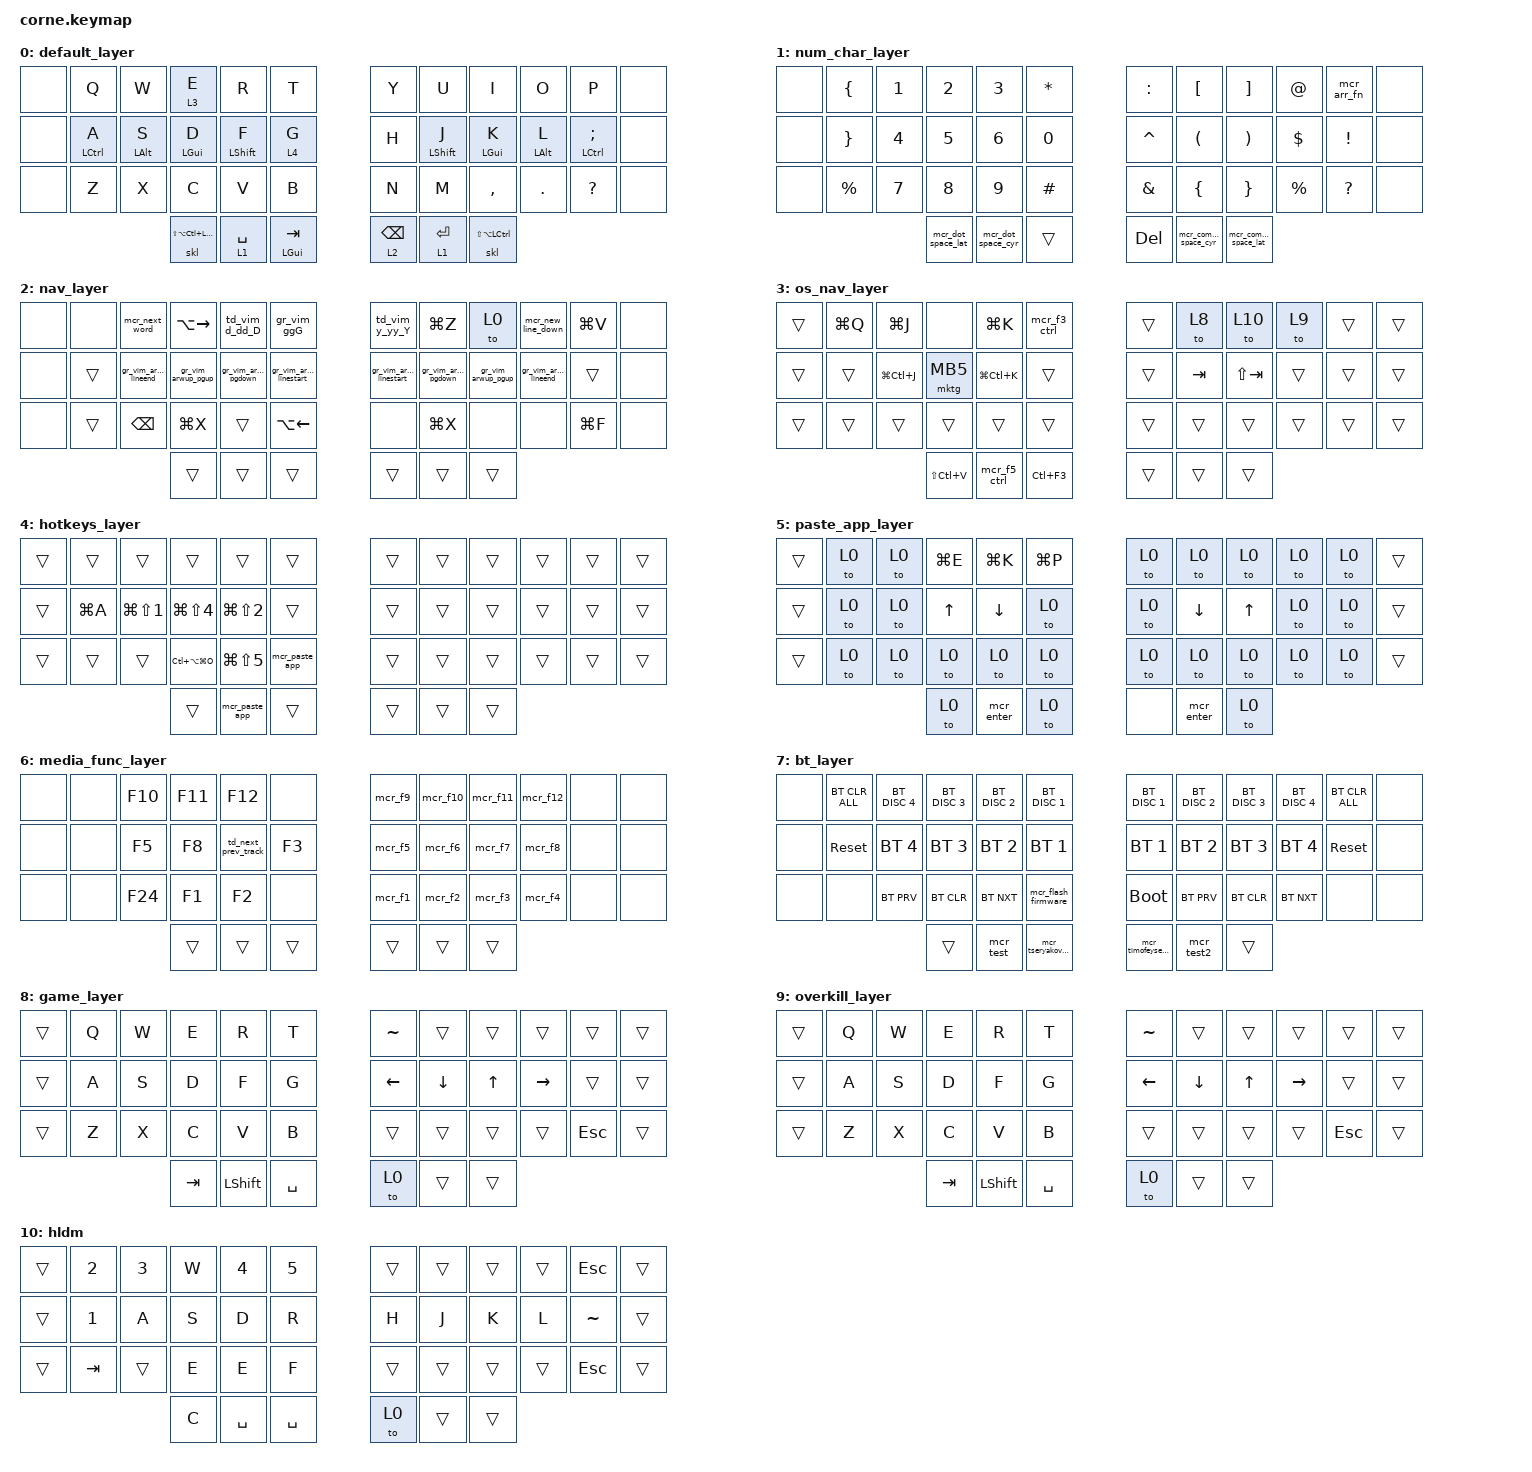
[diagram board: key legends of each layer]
/*
 * Copyright (c) 2020 The ZMK Contributors
 *
 * SPDX-License-Identifier: MIT
 */

#include <dt-bindings/zmk/mouse.h>
#include <behaviors/mouse_key_toggle.dtsi>
#include <behaviors.dtsi>
#include <dt-bindings/zmk/bt.h>
#include <dt-bindings/zmk/keys.h>
#include <dt-bindings/zmk/pointing.h>

&mt {
    flavor = "balanced";
    quick-tap-ms = <250>;
    tapping-term-ms = <250>;
};

&lt { quick-tap-ms = <200>; };

&soft_off { hold-time-ms = <200>; };

/ {
    macros {
        mcr_arr_fn: macro_arrow_fn {
            compatible = "zmk,behavior-macro";
            #binding-cells = <0>;
            bindings = <&kp EQUAL &kp GT &kp SPACE &kp LEFT_BRACE &kp RET>;
            label = "MACRO_ARROW_FN";
        };

        mcr_test: mcr_test {
            compatible = "zmk,behavior-macro";
            #binding-cells = <0>;
            bindings = <&kp EXCL &kp N1 &kp LS(Q) &kp A &kp Z &kp N2 &kp LS(W) &kp S &kp X &kp ENTER>;
            label = "MCR_TEST";
        };

        mcr_comma_space_cyr: mcr_comma_space {
            compatible = "zmk,behavior-macro";
            #binding-cells = <0>;
            bindings = <&kp CARET &kp SPACE>;
            label = "MCR_COMMA_SPACE";
        };

        mcr_dot_space_cyr: mcr_dot_space {
            compatible = "zmk,behavior-macro";
            #binding-cells = <0>;
            bindings = <&kp AMPERSAND &kp SPACE &skl LEFT_SHIFT>;
            label = "MCR_DOT_SPACE";
        };

        mcr_new_line_down: mcr_new_line {
            compatible = "zmk,behavior-macro";
            #binding-cells = <0>;
            bindings = <&kp LG(RIGHT_ARROW) &kp LS(ENTER)>;
            label = "MCR_NEW_LINE";
        };

        mcr_next_word: mcr_next_word {
            compatible = "zmk,behavior-macro";
            #binding-cells = <0>;
            bindings = <&kp LA(RIGHT_ARROW) &kp RIGHT_ARROW>;
            label = "MCR_NEXT_WORD";
        };

        mcr_vim_D: mcr_vim_D {
            compatible = "zmk,behavior-macro";
            #binding-cells = <0>;
            bindings =
                <&macro_press>,
                <&kp LSHFT>,
                <&macro_tap>,
                <&kp LG(RIGHT_ARROW)>,
                <&macro_release>,
                <&kp LSHFT>,
                <&macro_tap>,
                <&kp BACKSPACE>;

            label = "MCR_VIM_D";
        };

        mcr_vim_Y: mcr_vim_Y {
            compatible = "zmk,behavior-macro";
            #binding-cells = <0>;
            bindings =
                <&macro_press>,
                <&kp LSHFT>,
                <&macro_tap>,
                <&kp LG(RIGHT_ARROW)>,
                <&macro_release>,
                <&kp LSHFT>,
                <&macro_tap>,
                <&kp LG(C) &kp RIGHT_ARROW>;

            label = "MCR_VIM_Y";
        };

        mcr_vim_dd: mcr_vim_dd {
            compatible = "zmk,behavior-macro";
            #binding-cells = <0>;
            bindings =
                <&macro_tap>,
                <&kp LG(LEFT_ARROW)>,
                <&macro_press>,
                <&kp LSHFT>,
                <&macro_tap>,
                <&kp LG(RIGHT_ARROW)>,
                <&macro_release>,
                <&kp LSHFT>,
                <&macro_tap>,
                <&kp BACKSPACE>;

            label = "MCR_VIM_DD";
        };

        mcr_vim_yy: mcr_vim_yy {
            compatible = "zmk,behavior-macro";
            #binding-cells = <0>;
            bindings =
                <&macro_tap>,
                <&kp LG(LEFT_ARROW)>,
                <&macro_press>,
                <&kp LSHFT>,
                <&macro_tap>,
                <&kp LG(RIGHT_ARROW)>,
                <&macro_release>,
                <&kp LSHFT>,
                <&macro_tap>,
                <&kp LG(C) &kp LEFT_ARROW>;

            label = "MCR_VIM_YY";
        };

        mcr_esc: mcr_esc {
            compatible = "zmk,behavior-macro";
            #binding-cells = <0>;
            bindings = <&kp ESC &to 0>;
            label = "MCR_ESC";
        };

        mcr_paste_app: mcr_paste_app {
            compatible = "zmk,behavior-macro";
            #binding-cells = <0>;
            bindings = <&kp LS(LG(V)) &to 5>;
            label = "MCR_PASTE_APP";
        };

        mcr_enter: macro_enter {
            compatible = "zmk,behavior-macro";
            #binding-cells = <0>;
            bindings = <&kp ENTER &to 0>;
            label = "MACRO_ENTER";
        };

        mcr_f1: mcr_f1 {
            compatible = "zmk,behavior-macro";
            #binding-cells = <0>;
            bindings =
                <&macro_press>,
                <&kp F24>,
                <&macro_tap>,
                <&kp F1>,
                <&macro_release>,
                <&kp F24>;

            label = "MCR_F1";
        };

        mcr_f2: mcr_f2 {
            compatible = "zmk,behavior-macro";
            #binding-cells = <0>;
            bindings =
                <&macro_press>,
                <&kp F24>,
                <&macro_tap>,
                <&kp F2>,
                <&macro_release>,
                <&kp F24>;

            label = "MCR_F2";
        };

        mcr_f3: mcr_f3 {
            compatible = "zmk,behavior-macro";
            #binding-cells = <0>;
            bindings =
                <&macro_press>,
                <&kp F24>,
                <&macro_tap>,
                <&kp F3>,
                <&macro_release>,
                <&kp F24>;

            label = "MCR_F3";
        };

        mcr_f4: mcr_f4 {
            compatible = "zmk,behavior-macro";
            #binding-cells = <0>;
            bindings =
                <&macro_press>,
                <&kp F24>,
                <&macro_tap>,
                <&kp F4>,
                <&macro_release>,
                <&kp F24>;

            label = "MCR_F4";
        };

        mcr_f5: mcr_f5 {
            compatible = "zmk,behavior-macro";
            #binding-cells = <0>;
            bindings =
                <&macro_press>,
                <&kp F24>,
                <&macro_tap>,
                <&kp F5>,
                <&macro_release>,
                <&kp F24>;

            label = "MCR_F5";
        };

        mcr_f6: mcr_f6 {
            compatible = "zmk,behavior-macro";
            #binding-cells = <0>;
            bindings =
                <&macro_press>,
                <&kp F24>,
                <&macro_tap>,
                <&kp F6>,
                <&macro_release>,
                <&kp F24>;

            label = "MCR_F6";
        };

        mcr_f7: mcr_f7 {
            compatible = "zmk,behavior-macro";
            #binding-cells = <0>;
            bindings =
                <&macro_press>,
                <&kp F24>,
                <&macro_tap>,
                <&kp F7>,
                <&macro_release>,
                <&kp F24>;

            label = "MCR_F7";
        };

        mcr_f8: mcr_f8 {
            compatible = "zmk,behavior-macro";
            #binding-cells = <0>;
            bindings =
                <&macro_press>,
                <&kp F24>,
                <&macro_tap>,
                <&kp F8>,
                <&macro_release>,
                <&kp F24>;

            label = "MCR_F8";
        };

        mcr_f9: mcr_f9 {
            compatible = "zmk,behavior-macro";
            #binding-cells = <0>;
            bindings =
                <&macro_press>,
                <&kp F24>,
                <&macro_tap>,
                <&kp F9>,
                <&macro_release>,
                <&kp F24>;

            label = "MCR_F9";
        };

        mcr_f10: mcr_f10 {
            compatible = "zmk,behavior-macro";
            #binding-cells = <0>;
            bindings =
                <&macro_press>,
                <&kp F24>,
                <&macro_tap>,
                <&kp F10>,
                <&macro_release>,
                <&kp F24>;

            label = "MCR_F10";
        };

        mcr_f11: mcr_f11 {
            compatible = "zmk,behavior-macro";
            #binding-cells = <0>;
            bindings =
                <&macro_press>,
                <&kp F24>,
                <&macro_tap>,
                <&kp F11>,
                <&macro_release>,
                <&kp F24>;

            label = "MCR_F11";
        };

        mcr_f12: mcr_f12 {
            compatible = "zmk,behavior-macro";
            #binding-cells = <0>;
            bindings =
                <&macro_press>,
                <&kp F24>,
                <&macro_tap>,
                <&kp F12>,
                <&macro_release>,
                <&kp F24>;

            label = "MCR_F12";
        };

        mcr_flash_firmware: mcr_flash_firmware {
            compatible = "zmk,behavior-macro";
            #binding-cells = <0>;
            bindings = <&kp LC(LA(LG(SLASH))) &bootloader>;
            label = "MCR_FLASH_FIRMWARE";
        };

        mcr_mkp_mb1: mcr_mkp_mb1 {
            compatible = "zmk,behavior-macro";
            #binding-cells = <0>;
            bindings = <&macro_tap_time 10>, <&mkp MB1>;

            label = "MCR_MKP_MB1";
        };

        mcr_test2: mcr_test2 {
            compatible = "zmk,behavior-macro";
            #binding-cells = <0>;
            bindings = <&kp N1 &kp LS(Q) &kp A &kp Z &kp N2 &kp LS(W) &kp S &kp X &kp EXCLAMATION &kp EXCL &kp ENTER>;
            label = "MCR_TEST2";
        };

        mcr_esc_shift: mcr_esc_shift {
            compatible = "zmk,behavior-macro";
            #binding-cells = <0>;
            bindings = <&kp LS(ESC) &to 0>;
            label = "MCR_ESC_SHIFT";
        };

        mcr_f3_ctrl: mcr_f3_ctrl {
            compatible = "zmk,behavior-macro";
            #binding-cells = <0>;
            bindings =
                <&macro_press>,
                <&kp F24 &kp LEFT_CONTROL>,
                <&macro_tap>,
                <&kp F3>,
                <&macro_release>,
                <&kp F24 &kp LEFT_CONTROL>;

            label = "MCR_F3_CTRL";
        };

        mcr_f4_ctrl: mcr_f4_ctrl {
            compatible = "zmk,behavior-macro";
            #binding-cells = <0>;
            bindings =
                <&macro_press>,
                <&kp F24 &kp LEFT_CONTROL>,
                <&macro_tap>,
                <&kp F4>,
                <&macro_release>,
                <&kp F24 &kp LEFT_CONTROL>;

            label = "MCR_F4_CTRL";
        };

        mcr_f5_ctrl: mcr_f5_ctrl {
            compatible = "zmk,behavior-macro";
            #binding-cells = <0>;
            bindings =
                <&macro_press>,
                <&kp F24 &kp LEFT_CONTROL>,
                <&macro_tap>,
                <&kp F5>,
                <&macro_release>,
                <&kp F24 &kp LEFT_CONTROL>;

            label = "MCR_F5_CTRL";
        };

        mcr_tseryakovgmailcom: mcr_tseryakovgmailcom {
            compatible = "zmk,behavior-macro";
            #binding-cells = <0>;
            bindings = <&none &kp T &kp DOT &kp S &kp E &kp R &kp Y &kp A &kp K &kp O &kp V &kp AT &kp G &kp M &kp A &kp I &kp L &kp DOT &kp C &kp O &kp M &kp TAB>;
            label = "MCR_TSERYAKOVGMAILCOM";
        };

        mcr_timofeyseryakovgmailcom: mcr_timofeyseryakovgmailcom {
            compatible = "zmk,behavior-macro";
            #binding-cells = <0>;
            bindings = <&none &kp T &kp I &kp M &kp O &kp F &kp E &kp Y &kp DOT &kp S &kp E &kp R &kp Y &kp A &kp K &kp O &kp V &kp AT &kp G &kp M &kp A &kp I &kp L &kp DOT &kp C &kp O &kp M &kp TAB>;
            label = "MCR_TIMOFEYSERYAKOVGMAILCOM";
        };

        mcr_f1_ctrl: mcr_f1_ctrl {
            compatible = "zmk,behavior-macro";
            #binding-cells = <0>;
            bindings =
                <&macro_press>,
                <&kp F24 &kp LEFT_CONTROL>,
                <&macro_tap>,
                <&kp F1>,
                <&macro_release>,
                <&kp F24 &kp LEFT_CONTROL>;

            label = "MCR_F1_CTRL";
        };

        mcr_f2_ctrl: mcr_f2_ctrl {
            compatible = "zmk,behavior-macro";
            #binding-cells = <0>;
            bindings =
                <&macro_press>,
                <&kp F24 &kp LEFT_CONTROL>,
                <&macro_tap>,
                <&kp F2>,
                <&macro_release>,
                <&kp F24 &kp LEFT_CONTROL>;

            label = "MCR_F2_CTRL";
        };

        mcr_comma_space_lat: mcr_comma_space_lat {
            compatible = "zmk,behavior-macro";
            #binding-cells = <0>;
            bindings = <&kp COMMA &kp SPACE>;
            label = "MCR_COMMA_SPACE_LAT";
        };

        mcr_dot_space_lat: mcr_dot_space_lat {
            compatible = "zmk,behavior-macro";
            #binding-cells = <0>;
            bindings = <&kp DOT &kp SPACE &skl LEFT_SHIFT>;
            label = "MCR_DOT_SPACE_LAT";
        };
    };

    combos {
        compatible = "zmk,combos";

        combo_df_esc {
            bindings = <&mcr_esc>;
            key-positions = <15 16>;
            layers = <0 5 4>;
            timeout-ms = <35>;
        };

        combo_fg_backspace {
            bindings = <&kp BACKSPACE>;
            key-positions = <16 17>;
            layers = <0 4 5 1>;
            timeout-ms = <35>;
        };

        combo_vb_enter {
            bindings = <&kp ENTER>;
            key-positions = <28 29>;
            layers = <0 1 5 4>;
            timeout-ms = <35>;
        };

        combo_sd_ctrl_a {
            bindings = <&kp LC(A)>;
            key-positions = <14 15>;
            layers = <0 1 3>;
            timeout-ms = <35>;
        };

        combo_jk_esc {
            bindings = <&mcr_esc>;
            key-positions = <19 20>;
            layers = <0 1 4 5>;
            timeout-ms = <35>;
        };

        combo_io_backslash {
            bindings = <&kp BACKSLASH>;
            key-positions = <8 9>;
            timeout-ms = <40>;
        };

        combo_kl_equal {
            bindings = <&kp EQUAL>;
            key-positions = <20 21>;
            timeout-ms = <35>;
        };

        combo_lt_gt_underscore {
            bindings = <&kp UNDER>;
            key-positions = <32 33>;
            timeout-ms = <35>;
        };

        combo_b_t2_raycast {
            bindings = <&kp LG(SPACE)>;
            key-positions = <29 37>;
        };

        combo_v_t3_homerow_app {
            bindings = <&kp LG(LC(SPACE))>;
            key-positions = <36 28>;
        };

        combo_n_t1_homerow_app {
            bindings = <&kp LG(LS(J))>;
            key-positions = <30 39>;
        };

        combo_n_t2_lang_switch {
            bindings = <&kp F24>;
            key-positions = <30 40>;
        };

        combo_hm_percent {
            bindings = <&kp PERCENT>;
            key-positions = <18 30>;
        };

        combo_jm_asterisk {
            bindings = <&kp ASTERISK>;
            key-positions = <19 31>;
        };

        combo_k_comma_hash {
            bindings = <&kp HASH>;
            key-positions = <20 32>;
        };

        combo_tg_tilde {
            bindings = <&kp TILDE>;
            key-positions = <5 17>;
            layers = <0>;
        };

        combo_uj_plus {
            bindings = <&kp PLUS>;
            key-positions = <7 19>;
        };

        combo_ik_minus {
            bindings = <&kp MINUS>;
            key-positions = <8 20>;
        };

        combo_ed_double_quotes {
            bindings = <&kp DOUBLE_QUOTES>;
            key-positions = <3 15>;
            layers = <0 4 1 5>;
        };

        combo_yh_grave {
            bindings = <&kp GRAVE>;
            key-positions = <18 6>;
            layers = <0 4 1 5>;
        };

        combo_rf_quotes {
            bindings = <&kp SINGLE_QUOTE>;
            key-positions = <16 4>;
            layers = <0 4 1 5>;
        };

        combo_t2_t2_caps_lock {
            bindings = <&kp CAPSLOCK>;
            key-positions = <37 40>;
            layers = <0>;
        };

        combo_v_t3_raycast_apps {
            bindings = <&kp LC(LG(N))>;
            key-positions = <29 38>;
        };

        combo_gb_paste {
            bindings = <&kp LG(V)>;
            key-positions = <17 29>;
            layers = <0 4 1 5>;
        };

        combo_fv_copy {
            bindings = <&kp LG(C)>;
            key-positions = <16 28>;
            layers = <0 4 1 5>;
        };

        combo_dc_cut {
            bindings = <&kp LG(X)>;
            key-positions = <15 27>;
            layers = <0 1 4 5>;
        };

        combo_sx_copy_line {
            bindings = <&mcr_vim_yy>;
            key-positions = <14 26>;
            layers = <0 1 4 5>;
        };

        combo_qa_undo {
            bindings = <&kp LG(Z)>;
            key-positions = <13 1>;
            layers = <0 4 1 5>;
        };

        combo_az_cmd_ctrl_a {
            bindings = <&kp LG(LC(A))>;
            key-positions = <13 25>;
            layers = <0 1 4 5>;
        };

        combo_t2_z_bt_layer {
            bindings = <&lt 7 UNDER>;
            key-positions = <25 36>;
            timeout-ms = <75>;
        };

        combo_t2_slsh_bt_layer {
            bindings = <&lt 7 EXCL>;
            key-positions = <34 41>;
            timeout-ms = <75>;
        };

        combo_t1_a_media_func_layer {
            bindings = <&lt 6 LC(LG(N))>;
            key-positions = <13 37>;
        };

        combo_t1_semi_media_func_layer {
            bindings = <&lt 6 COLON>;
            key-positions = <22 40>;
            timeout-ms = <75>;
        };

        combo_er_gpt_promt {
            bindings = <&kp LA(SPACE)>;
            key-positions = <3 4>;
            layers = <0>;
        };

        combo_g_t2_paste_app {
            bindings = <&mcr_paste_app>;
            key-positions = <17 37>;
            layers = <0 5>;
        };

        combo_df_esc_shift {
            bindings = <&mcr_esc_shift>;
            key-positions = <15 16>;
            layers = <1>;
        };

        combo_t2_t2_lang_switch {
            bindings = <&kp F24>;
            key-positions = <37 40>;
            timeout-ms = <30>;
        };

        combo_ol_pipe {
            bindings = <&kp PIPE>;
            key-positions = <9 21>;
        };

        combo_ws_backslash {
            bindings = <&kp BACKSLASH>;
            key-positions = <2 14>;
            layers = <0 4 1 5>;
        };

        combo_psemicolon {
            bindings = <&kp LEFT_BRACKET>;
            key-positions = <10 22>;
            layers = <0 4 1 5>;
        };

        combo_semiquestion {
            bindings = <&kp RIGHT_BRACKET>;
            key-positions = <22 34>;
            layers = <0 4 1 5>;
        };

        combo_t1_t1_vim_layer {
            bindings = <&tog 2>;
            key-positions = <38 39>;
            layers = <0 2>;
        };

        combo_xc_backslash {
            bindings = <&kp BACKSLASH>;
            key-positions = <26 27>;
            timeout-ms = <35>;
            layers = <0>;
        };

        combo_we_slash {
            bindings = <&kp SLASH>;
            key-positions = <2 3>;
            timeout-ms = <40>;
        };

        combo_t2_q {
            bindings = <&kp LG(GRAVE)>;
            key-positions = <1 37>;
            layers = <0>;
        };

        combo_t1_q {
            bindings = <&kp LG(TILDE)>;
            key-positions = <1 38>;
            layers = <0>;
        };

        combo_f_t3 {
            bindings = <&skl LS(LA(LC(LGUI)))>;
            key-positions = <16 37>;
            layers = <0>;
            timeout-ms = <40>;
        };

        combo_j_t3 {
            bindings = <&skl LS(LA(LCTRL))>;
            key-positions = <19 40>;
            layers = <0>;
            timeout-ms = <40>;
        };

        combo_h_t2_shift {
            bindings = <&kp LSHIFT>;
            key-positions = <18 40>;
            layers = <0 5>;
        };

        combo_cv_homerow_app {
            bindings = <&kp LG(LS(J))>;
            key-positions = <28 27>;
            timeout-ms = <35>;
            layers = <0 1 5>;
        };

        combo_wr_mktg {
            bindings = <&mktg MB5>;
            key-positions = <4 2>;
            layers = <0>;
        };
    };

    behaviors {
        td_next_prev_track: td_next_prev_track {
            compatible = "zmk,behavior-tap-dance";
            label = "TD_NEXT_PREV_TRACK";
            #binding-cells = <0>;
            tapping-term-ms = <250>;
            bindings = <&kp F9>, <&kp F7>;
        };

        hrm: homerow_mods {
            compatible = "zmk,behavior-hold-tap";
            label = "HOMEROW_MODS";
            #binding-cells = <2>;
            flavor = "tap-preferred";
            tapping-term-ms = <225>;
            quick-tap-ms = <195>;
            global-quick-tap;
            bindings = <&kp>, <&kp>;
        };

        gr_vim_ggG: gr_vim_ggG {
            compatible = "zmk,behavior-mod-morph";
            label = "GR_VIM_GGG";
            bindings = <&td_g_gg>, <&kp LG(DOWN_ARROW)>;

            #binding-cells = <0>;
            mods = <(MOD_LSFT)>;
        };

        td_g_gg: td_g_gg {
            compatible = "zmk,behavior-tap-dance";
            label = "TD_G_GG";
            #binding-cells = <0>;
            bindings = <&kp G>, <&kp LG(UP_ARROW)>;
        };

        td_vim_d_dd_D: td_vim_d_dd_D {
            compatible = "zmk,behavior-tap-dance";
            label = "TD_VIM_D_DD_D";
            #binding-cells = <0>;
            bindings = <&gr_vim_d_D>, <&mcr_vim_dd>;
        };

        gr_vim_d_D: gr_vim_d_D {
            compatible = "zmk,behavior-mod-morph";
            label = "GR_VIM_D_D";
            bindings = <&kp DELETE>, <&mcr_vim_D>;

            #binding-cells = <0>;
            mods = <(MOD_LSFT)>;
        };

        td_vim_y_yy_Y: td_vim_y_yy_Y {
            compatible = "zmk,behavior-tap-dance";
            label = "TD_VIM_Y_YY_Y";
            #binding-cells = <0>;
            bindings = <&gr_vim_y_Y>, <&mcr_vim_yy>;

            tapping-term-ms = <330>;
        };

        gr_vim_y_Y: gr_vim_y_Y {
            compatible = "zmk,behavior-mod-morph";
            label = "GR_VIM_Y_Y";
            bindings = <&kp LG(C)>, <&mcr_vim_Y>;

            #binding-cells = <0>;
            mods = <(MOD_LSFT)>;
        };

        gr_vim_arwdown_pgdown: gr_vim_arwdown_pgdown {
            compatible = "zmk,behavior-mod-morph";
            label = "GR_VIM_ARWDOWN_PGDOWN";
            bindings = <&kp DOWN_ARROW>, <&kp PAGE_DOWN>;

            #binding-cells = <0>;
            mods = <(MOD_LCTL)>;
        };

        gr_vim_arwup_pgup: gr_vim_arwup_pgup {
            compatible = "zmk,behavior-mod-morph";
            label = "GR_VIM_ARWUP_PGUP";
            bindings = <&kp UP_ARROW>, <&kp PAGE_UP>;

            #binding-cells = <0>;
            mods = <(MOD_LCTL)>;
        };

        gr_vim_arwleft_linestart: gr_vim_arwleft_linestart {
            compatible = "zmk,behavior-mod-morph";
            label = "GR_VIM_ARWLEFT_LINESTART";
            bindings = <&kp LEFT_ARROW>, <&kp LG(LEFT_ARROW)>;

            #binding-cells = <0>;
            mods = <(MOD_LCTL)>;
        };

        gr_vim_arwright_lineend: gr_vim_arwright_lineend {
            compatible = "zmk,behavior-mod-morph";
            label = "GR_VIM_ARWRIGHT_LINEEND";
            bindings = <&kp RIGHT_ARROW>, <&kp LG(RIGHT_ARROW)>;

            #binding-cells = <0>;
            mods = <(MOD_LCTL)>;
        };

        skl: sticky_key_long_release {
            compatible = "zmk,behavior-sticky-key";
            label = "STICKY_KEY_LONG_RELEASE";
            bindings = <&kp>;
            #binding-cells = <1>;
            release-after-ms = <5000>;
            ignore-modifiers;
            quick-release;
        };

        td_star_hash: td_star_hash {
            compatible = "zmk,behavior-tap-dance";
            label = "TD_STAR_HASH";
            #binding-cells = <0>;
            bindings = <&kp ASTERISK>, <&kp HASH>;

            tapping-term-ms = <260>;
        };

        lt_like_hmr: lt_like_hmr {
            compatible = "zmk,behavior-hold-tap";
            label = "LT_LIKE_HMR";
            #binding-cells = <2>;
            flavor = "tap-preferred";
            tapping-term-ms = <225>;
            quick-tap-ms = <195>;
            global-quick-tap;
            bindings = <&mo>, <&kp>;
        };

        tap_skl: tap_skl {
            compatible = "zmk,behavior-hold-tap";
            label = "TAP_SKL";
            #binding-cells = <2>;
            flavor = "tap-preferred";
            tapping-term-ms = <225>;
            quick-tap-ms = <195>;
            global-quick-tap;
            bindings = <&skl>, <&kp>;
        };
    };

    keymap {
        compatible = "zmk,keymap";

        default_layer {
            bindings = <
&none  &kp Q         &kp W            &lt_like_hmr 3 E       &kp R              &kp T                &kp Y            &kp U              &kp I               &kp O            &kp P                 &none
&none  &hrm LCTRL A  &hrm LEFT_ALT S  &hrm LEFT_GUI D        &hrm LEFT_SHIFT F  &lt_like_hmr 4 G     &kp H            &hrm LEFT_SHIFT J  &hrm LEFT_GUI K     &hrm LEFT_ALT L  &hrm LCTRL SEMICOLON  &none
&none  &kp Z         &kp X            &kp C                  &kp V              &kp B                &kp N            &kp M              &kp COMMA           &kp DOT          &kp QUESTION          &none
                                      &skl LS(LA(LC(LGUI)))  &lt 1 SPACE        &tap_skl LGUI TAB    &lt 2 BACKSPACE  &lt 1 ENTER        &skl LS(LA(LCTRL))
            >;
        };

        num_char_layer {
            bindings = <
&none  &kp LEFT_BRACE   &kp N1  &kp N2              &kp N3              &kp ASTERISK    &kp COLON      &kp LEFT_BRACKET      &kp RIGHT_BRACKET      &kp AT_SIGN  &mcr_arr_fn      &none
&none  &kp RIGHT_BRACE  &kp N4  &kp N5              &kp N6              &kp N0          &kp CARET      &kp LEFT_PARENTHESIS  &kp RIGHT_PARENTHESIS  &kp DOLLAR   &kp EXCLAMATION  &none
&none  &kp PERCENT      &kp N7  &kp N8              &kp N9              &kp HASH        &kp AMPERSAND  &kp LEFT_BRACE        &kp RIGHT_BRACE        &kp PERCENT  &kp QUESTION     &none
                                &mcr_dot_space_lat  &mcr_dot_space_cyr  &trans          &kp DEL        &mcr_comma_space_cyr  &mcr_comma_space_lat
            >;
        };

        nav_layer {
            bindings = <
&none  &none   &mcr_next_word            &kp LA(RIGHT_ARROW)  &td_vim_d_dd_D          &gr_vim_ggG                  &td_vim_y_yy_Y             &kp LG(Z)               &to 0               &mcr_new_line_down        &kp LG(V)  &none
&none  &trans  &gr_vim_arwright_lineend  &gr_vim_arwup_pgup   &gr_vim_arwdown_pgdown  &gr_vim_arwleft_linestart    &gr_vim_arwleft_linestart  &gr_vim_arwdown_pgdown  &gr_vim_arwup_pgup  &gr_vim_arwright_lineend  &trans     &none
&none  &trans  &kp BACKSPACE             &kp LG(X)            &trans                  &kp LA(LEFT)                 &none                      &kp LG(X)               &none               &none                     &kp LG(F)  &none
                                         &trans               &trans                  &trans                       &trans                     &trans                  &trans
            >;
        };

        os_nav_layer {
            bindings = <
&trans  &kp LG(Q)  &kp LG(J)      &none      &kp LG(K)      &mcr_f3_ctrl    &trans  &to 8    &to 10       &to 9   &trans  &trans
&trans  &trans     &kp LG(LC(J))  &mktg MB5  &kp LG(LC(K))  &trans          &trans  &kp TAB  &kp LS(TAB)  &trans  &trans  &trans
&trans  &trans     &trans         &trans     &trans         &trans          &trans  &trans   &trans       &trans  &trans  &trans
                                  &kp LS(LC(V))  &mcr_f5_ctrl   &kp LC(F3)      &trans  &trans   &trans
            >;
        };

        hotkeys_layer {
            bindings = <
&trans  &trans     &trans          &trans             &trans          &trans            &trans  &trans  &trans  &trans  &trans  &trans
&trans  &kp LG(A)  &kp LG(LS(N1))  &kp LG(LS(N4))     &kp LG(LS(N2))  &trans            &trans  &trans  &trans  &trans  &trans  &trans
&trans  &trans     &trans          &kp LC(LA(LG(O)))  &kp LG(LS(N5))  &mcr_paste_app    &trans  &trans  &trans  &trans  &trans  &trans
                                   &trans             &mcr_paste_app  &trans            &trans  &trans  &trans
            >;
        };

        paste_app_layer {
            bindings = <
&trans  &to 0  &to 0  &kp LG(E)  &kp LG(K)   &kp LG(P)    &to 0  &to 0       &to 0         &to 0  &to 0  &trans
&trans  &to 0  &to 0  &kp UP     &kp DOWN    &to 0        &to 0  &kp DOWN    &kp UP_ARROW  &to 0  &to 0  &trans
&trans  &to 0  &to 0  &to 0      &to 0       &to 0        &to 0  &to 0       &to 0         &to 0  &to 0  &trans
                      &to 0      &mcr_enter  &to 0        &none  &mcr_enter  &to 0
            >;
        };

        media_func_layer {
            bindings = <
&none  &none  &kp F10  &kp F11  &kp F12              &none     &mcr_f9  &mcr_f10  &mcr_f11  &mcr_f12  &none  &none
&none  &none  &kp F5   &kp F8   &td_next_prev_track  &kp F3    &mcr_f5  &mcr_f6   &mcr_f7   &mcr_f8   &none  &none
&none  &none  &kp F24  &kp F1   &kp F2               &none     &mcr_f1  &mcr_f2   &mcr_f3   &mcr_f4   &none  &none
                       &trans   &trans               &trans    &trans   &trans    &trans
            >;
        };

        bt_layer {
            bindings = <
&none  &bt BT_CLR_ALL  &bt BT_DISC 4  &bt BT_DISC 3  &bt BT_DISC 2  &bt BT_DISC 1             &bt BT_DISC 1                 &bt BT_DISC 2  &bt BT_DISC 3  &bt BT_DISC 4  &bt BT_CLR_ALL  &none
&none  &sys_reset      &bt BT_SEL 4   &bt BT_SEL 3   &bt BT_SEL 2   &bt BT_SEL 1              &bt BT_SEL 1                  &bt BT_SEL 2   &bt BT_SEL 3   &bt BT_SEL 4   &sys_reset      &none
&none  &none           &bt BT_PRV     &bt BT_CLR     &bt BT_NXT     &mcr_flash_firmware       &bootloader                   &bt BT_PRV     &bt BT_CLR     &bt BT_NXT     &none           &none
                                      &trans         &mcr_test      &mcr_tseryakovgmailcom    &mcr_timofeyseryakovgmailcom  &mcr_test2     &trans
            >;
        };

        game_layer {
            bindings = <
&trans  &kp Q  &kp W  &kp E    &kp R      &kp T        &kp TILDE       &trans          &trans        &trans           &trans   &trans
&trans  &kp A  &kp S  &kp D    &kp F      &kp G        &kp LEFT_ARROW  &kp DOWN_ARROW  &kp UP_ARROW  &kp RIGHT_ARROW  &trans   &trans
&trans  &kp Z  &kp X  &kp C    &kp V      &kp B        &trans          &trans          &trans        &trans           &kp ESC  &trans
                      &kp TAB  &kp LSHFT  &kp SPACE    &to 0           &trans          &trans
            >;
        };

        overkill_layer {
            bindings = <
&trans  &kp Q  &kp W  &kp E    &kp R      &kp T        &kp TILDE       &trans          &trans        &trans           &trans   &trans
&trans  &kp A  &kp S  &kp D    &kp F      &kp G        &kp LEFT_ARROW  &kp DOWN_ARROW  &kp UP_ARROW  &kp RIGHT_ARROW  &trans   &trans
&trans  &kp Z  &kp X  &kp C    &kp V      &kp B        &trans          &trans          &trans        &trans           &kp ESC  &trans
                      &kp TAB  &kp LSHFT  &kp SPACE    &to 0           &trans          &trans
            >;
        };

        hldm {
            bindings = <
&trans  &kp N2   &kp N3  &kp W  &kp N4     &kp N5       &trans  &trans  &trans  &trans  &kp ESC    &trans
&trans  &kp N1   &kp A   &kp S  &kp D      &kp R        &kp H   &kp J   &kp K   &kp L   &kp TILDE  &trans
&trans  &kp TAB  &trans  &kp E  &kp E      &kp F        &trans  &trans  &trans  &trans  &kp ESC    &trans
                         &kp C  &kp SPACE  &kp SPACE    &to 0   &trans  &trans
            >;
        };
    };
};

